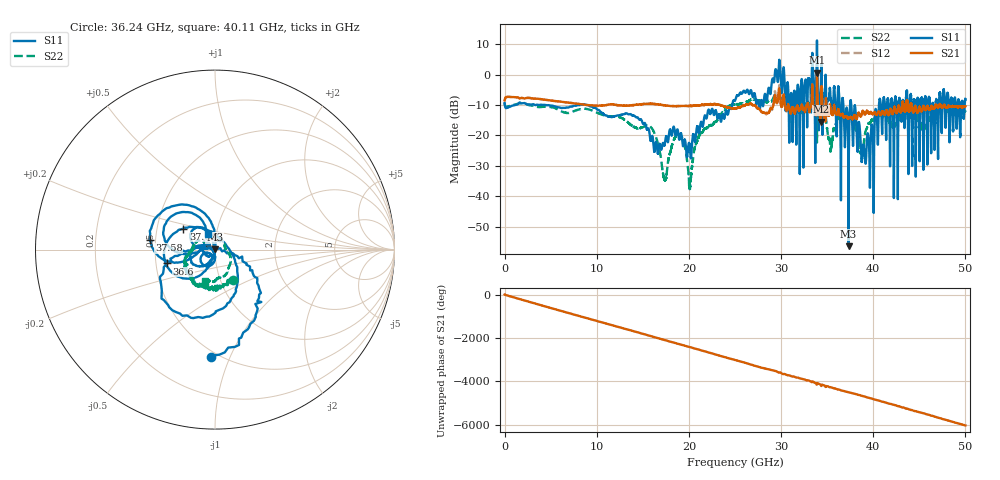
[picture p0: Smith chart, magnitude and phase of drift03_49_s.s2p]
!Created with skrf (http://scikit-rf.org).
# Hz S RI R 50.0
!freq ReS11 ImS11 ReS21 ImS21 ReS12 ImS12 ReS22 ImS22
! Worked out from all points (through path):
!   10001 points, 300 kHz to 50 GHz, reference 50 ohm
!   highest |S21| = 0.58 dB at 33.9 GHz (marker M1); lowest = -15.5 dB at 34.32 GHz (marker M2)
!   group delay of S21, straight-line fit = 335 ps
!   lowest |S11| = -56.4 dB at 37.33 GHz (marker M3), VSWR 1.00, Z = 49.9 + j0.0873 ohm
!   |S11| at or under -10 dB: 4.472 GHz to 7.968 GHz (3.496 GHz wide, 56.2 % of centre); 9.011 GHz to 24.7 GHz (15.69 GHz wide, 93.1 % of centre); 37.62 GHz to 40.62 GHz (3.002 GHz wide, 7.67 % of centre) (the widest 3 of 64)
!   |S22| runs from -37.8 to -5.8 dB; largest |S21 - S12| = 0.11
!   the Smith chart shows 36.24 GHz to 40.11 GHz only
!   S11 on the Smith chart (normalised r, x): 36.24 GHz: 0.46, -0.85; 36.6 GHz: 0.57, -0.10; 37.04 GHz: 0.68, +0.17; 37.58 GHz: 0.46, +0.06; 40.11 GHz: 0.91, +0.16
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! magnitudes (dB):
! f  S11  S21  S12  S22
! 300 kHz  -9.4  -8.5  -8.5  -9.3
! 8.335 GHz  -9.9  -9.8  -9.8  -11.3
! 16.67 GHz  -25.5  -9.8  -9.8  -23.2
! 17.39 GHz  -22.7  -10.1  -10.1  -34.7
! 19.08 GHz  -19.7  -10.3  -10.3  -20.1
! 20.13 GHz  -24.5  -10.3  -10.3  -36.5
! 21.19 GHz  -17.9  -10.1  -10.1  -19.6
! 25 GHz  -8.6  -11.1  -11.1  -9.8
! 31.08 GHz  -6.1  -12.6  -12.7  -10.5
! 33.34 GHz  0.4  -7.5  -7.6  -9.4
! 33.9 GHz  11.2  0.6  0.2  -22.3
! 34.32 GHz  -2.9  -15.5  -14.9  -11.3
! 35.35 GHz  -6.8  -10.5  -10.1  -24.5
! 36.24 GHz  -4.5  -11.7  -11.7  -14.2
! 36.6 GHz  -11.1  -13.0  -13.0  -13.6
! 37.04 GHz  -13.5  -13.9  -14.0  -13.8
! 37.33 GHz  -56.4  -14.4  -14.5  -13.6
! 37.58 GHz  -8.7  -13.9  -13.8  -13.8
! 38.71 GHz  -26.5  -13.4  -13.4  -25.3
! 40.11 GHz  -20.5  -12.6  -12.6  -14.8
! 41.67 GHz  -9.5  -13.3  -13.2  -14.8
! 50 GHz  -8.0  -10.4  -10.6  -12.2
